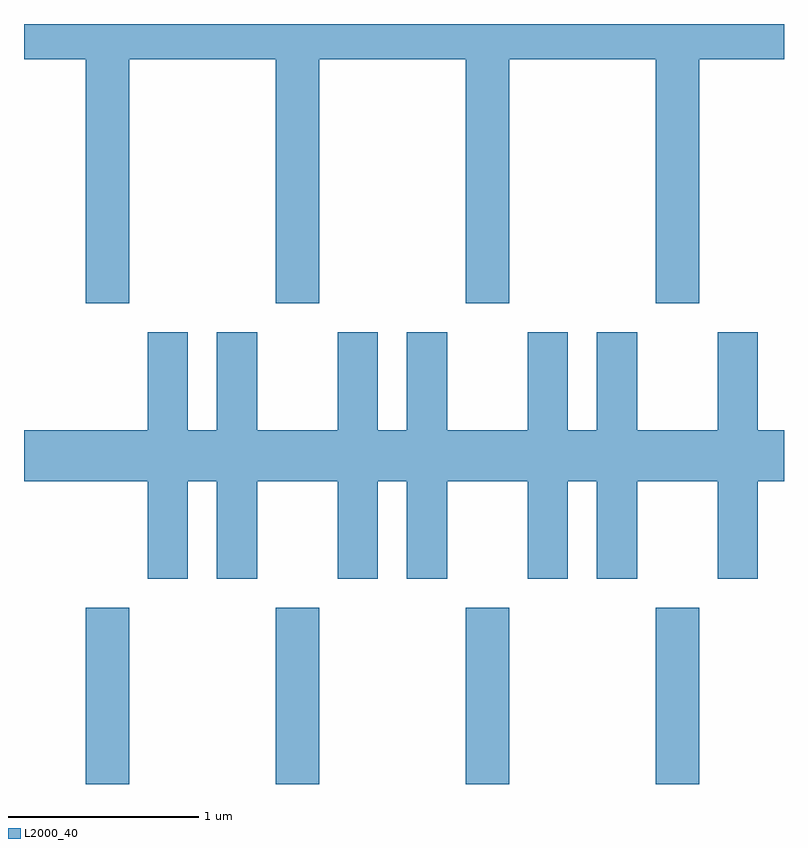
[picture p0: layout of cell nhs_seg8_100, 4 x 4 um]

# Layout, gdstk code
import gdstk
lib = gdstk.Library(unit=1e-6, precision=1e-09)
def R(c, l, rs):  # rectangles x0, y0, x1, y1
    for r in rs: c.add(gdstk.rectangle(r[:2], r[2:], *l))
def A(c, l, x, y, w, h, nx, ny, dx, dy):  # array of equal rectangles
    R(c, l, [(x+i*dx, y+j*dy, x+i*dx+w, y+j*dy+h) for i in range(nx) for j in range(ny)])
def P(c, l, *ps):  # polygons
    for p in ps: c.add(gdstk.Polygon(p, *l))
L2000_40 = (2000, 40)

nhs_seg8_100 = lib.new_cell('nhs_seg8_100')
A(nhs_seg8_100, L2000_40, 187.936, 1870.342, 0.228, 0.927, 4, 1, 1, 0)
P(nhs_seg8_100, L2000_40, [(188.164,1874.156),(188.936,1874.156),(188.936,1872.871),(189.164,1872.871),(189.164,1874.156),(189.936,1874.156),(189.936,1872.871),(190.164,1872.871),(190.164,1874.156),(190.936,1874.156),(190.936,1872.871),(191.164,1872.871),(191.164,1874.156),(191.611,1874.156),(191.611,1874.342),(187.611,1874.342),(187.611,1874.156),(187.936,1874.156),(187.936,1872.871),(188.164,1872.871)],
  [(188.474,1871.936),(188.626,1871.936),(188.626,1871.421),(188.839,1871.421),(188.839,1871.936),(189.261,1871.936),(189.261,1871.421),(189.474,1871.421),(189.474,1871.936),(189.626,1871.936),(189.626,1871.421),(189.839,1871.421),(189.839,1871.936),(190.261,1871.936),(190.261,1871.421),(190.474,1871.421),(190.474,1871.936),(190.626,1871.936),(190.626,1871.421),(190.839,1871.421),(190.839,1871.936),(191.261,1871.936),(191.261,1871.421),(191.474,1871.421),(191.474,1871.936),(191.611,1871.936),(191.611,1872.204),(191.474,1872.204),(191.474,1872.719),(191.261,1872.719),(191.261,1872.204),(190.839,1872.204),(190.839,1872.719),(190.626,1872.719),(190.626,1872.204),(190.474,1872.204),(190.474,1872.719),(190.261,1872.719),(190.261,1872.204),(189.839,1872.204),(189.839,1872.719),(189.626,1872.719),(189.626,1872.204),(189.474,1872.204),(189.474,1872.719),(189.261,1872.719),(189.261,1872.204),(188.839,1872.204),(188.839,1872.719),(188.626,1872.719),(188.626,1872.204),(188.474,1872.204),(188.474,1872.719),(188.261,1872.719),(188.261,1872.204),(187.611,1872.204),(187.611,1871.936),(188.261,1871.936),(188.261,1871.421),(188.474,1871.421)])

lib.write_gds('nhs_seg8_100.gds')
